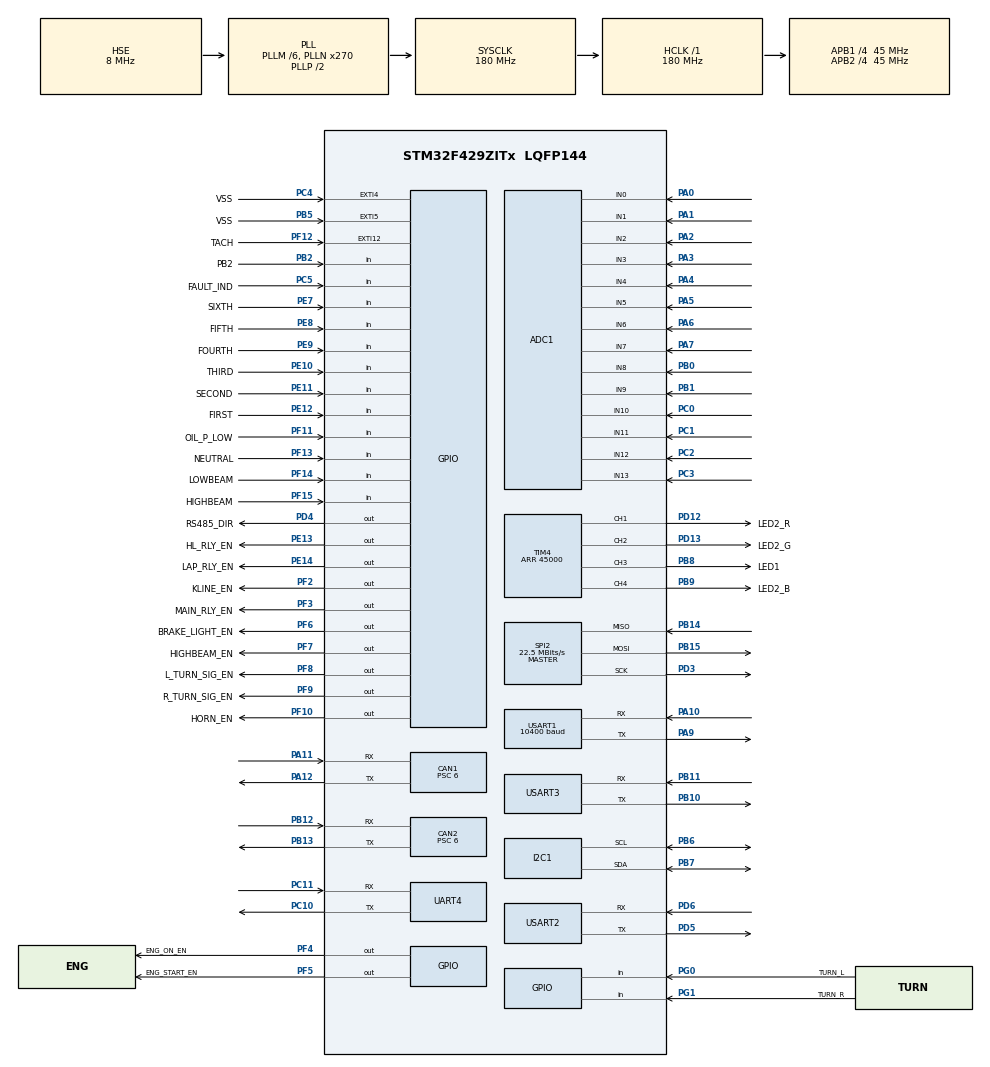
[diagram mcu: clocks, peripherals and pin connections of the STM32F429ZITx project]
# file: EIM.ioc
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ADC1.Channel-1\#ChannelRegularConversion=ADC_CHANNEL_TEMPSENSOR
ADC1.NbrOfConversionFlag=1
ADC1.Rank-1\#ChannelRegularConversion=1
ADC1.SamplingTime-1\#ChannelRegularConversion=ADC_SAMPLETIME_3CYCLES
ADC1.master=1
CAN1.BS1=CAN_BS1_6TQ
CAN1.BS2=CAN_BS2_8TQ
CAN1.CalculateBaudRate=500000
CAN1.CalculateTimeBit=2000
CAN1.CalculateTimeQuantum=133.33333333333331
CAN1.Prescaler=6
CAN2.BS1=CAN_BS1_6TQ
CAN2.BS2=CAN_BS2_8TQ
CAN2.CalculateBaudRate=500000
CAN2.CalculateTimeBit=2000
CAN2.CalculateTimeQuantum=133.33333333333331
CAN2.Prescaler=6
FREERTOS.INCLUDE_vTaskDelayUntil=1
FREERTOS.INCLUDE_vTaskDelete=0
FREERTOS.INCLUDE_xTaskGetCurrentTaskHandle=1
FREERTOS.MEMORY_ALLOCATION=1
FREERTOS.Tasks01=defaultTask,-3,256,StartDefaultTask,Default,NULL,Static,defaultTaskBuffer,defaultTaskControlBlock;Task1kHz,3,256,StartTask1kHz,Default,NULL,Static,Task1kHzBuffer,Task1kHzControlBlock;Task10Hz,1,256,StartTask10Hz,Default,NULL,Static,Task10HzBuffer,Task10HzControlBlock;Task1Hz,0,256,StartTask1Hz,Default,NULL,Static,Task1HzBuffer,Task1HzControlBlock;Task100Hz,2,256,StartTask100Hz,Default,NULL,Static,Task100HzBuffer,Task100HzControlBlock
FREERTOS.configGENERATE_RUN_TIME_STATS=1
FREERTOS.configMAX_PRIORITIES=32
FREERTOS.configMINIMAL_STACK_SIZE=256
Mcu.Family=STM32F4
Mcu.Name=STM32F429ZITx
Mcu.Package=LQFP144
NVIC.ADC_IRQn=true\:5\:0\:false\:false\:true\:true\:true\:true\:true
NVIC.CAN1_RX0_IRQn=true\:5\:0\:false\:false\:true\:true\:true\:true\:true
NVIC.CAN1_RX1_IRQn=true\:5\:0\:false\:false\:true\:true\:true\:true\:true
NVIC.EXTI15_10_IRQn=true\:5\:0\:false\:false\:true\:true\:true\:true\:true
NVIC.PriorityGroup=NVIC_PRIORITYGROUP_4
NVIC.TIM2_IRQn=true\:15\:0\:false\:false\:true\:false\:false\:true\:true
NVIC.TIM5_IRQn=true\:5\:0\:false\:false\:true\:true\:true\:true\:true
NVIC.TimeBase=TIM2_IRQn
NVIC.TimeBaseIP=TIM2
NVIC.USART1_IRQn=true\:5\:0\:false\:false\:true\:true\:true\:true\:true
NVIC.USART2_IRQn=true\:5\:0\:false\:false\:true\:true\:true\:true\:true
PA0/WKUP.Signal=ADCx_IN0
PA1.Signal=ADCx_IN1
PA10.Mode=Asynchronous
PA10.Signal=USART1_RX
PA11.Mode=CAN_Activate
PA11.Signal=CAN1_RX
PA12.Mode=CAN_Activate
PA12.Signal=CAN1_TX
PA13.Mode=JTAG_5_pins
PA13.Signal=SYS_JTMS-SWDIO
PA14.Mode=JTAG_5_pins
PA14.Signal=SYS_JTCK-SWCLK
PA15.Mode=JTAG_5_pins
PA15.Signal=SYS_JTDI
PA2.Signal=ADCx_IN2
PA3.Signal=ADCx_IN3
PA4.Signal=ADCx_IN4
PA5.Signal=ADCx_IN5
PA6.Signal=ADCx_IN6
PA7.Signal=ADCx_IN7
PA9.Mode=Asynchronous
PA9.Signal=USART1_TX
PB0.Signal=ADCx_IN8
PB1.Signal=ADCx_IN9
PB10.Mode=Asynchronous
PB10.Signal=USART3_TX
PB11.Mode=Asynchronous
PB11.Signal=USART3_RX
PB12.Mode=CAN_Activate
PB12.Signal=CAN2_RX
PB13.Mode=CAN_Activate
PB13.Signal=CAN2_TX
PB14.Mode=Full_Duplex_Master
PB14.Signal=SPI2_MISO
PB15.Mode=Full_Duplex_Master
PB15.Signal=SPI2_MOSI
PB2/BOOT1.GPIO_Label=PB2
PB2/BOOT1.Signal=GPIO_Input
PB3.Mode=JTAG_5_pins
PB3.Signal=SYS_JTDO-SWO
PB4.Mode=JTAG_5_pins
PB4.Signal=SYS_JTRST
PB5.GPIO_Label=VSS
PB5.Signal=GPXTI5
PB6.Mode=I2C
PB6.Signal=I2C1_SCL
PB7.Mode=I2C
PB7.Signal=I2C1_SDA
PB8.GPIO_Label=LED1
PB8.Signal=S_TIM4_CH3
PB9.GPIO_Label=LED2_B
PB9.Signal=S_TIM4_CH4
PC0.Signal=ADCx_IN10
PC1.Signal=ADCx_IN11
PC10.Mode=Asynchronous
PC10.Signal=UART4_TX
PC11.Mode=Asynchronous
PC11.Signal=UART4_RX
PC14/OSC32_IN.Mode=LSE-External-Clock-Source
PC14/OSC32_IN.Signal=RCC_OSC32_IN
PC15/OSC32_OUT.Mode=LSE-External-Clock-Source
PC15/OSC32_OUT.Signal=RCC_OSC32_OUT
PC2.Signal=ADCx_IN12
PC3.Signal=ADCx_IN13
PC4.GPIO_Label=VSS
PC4.Signal=GPXTI4
PC5.GPIO_Label=FAULT_IND
PC5.Signal=GPIO_Input
PD12.GPIO_Label=LED2_R
PD12.Signal=S_TIM4_CH1
PD13.GPIO_Label=LED2_G
PD13.Signal=S_TIM4_CH2
PD3.Mode=Full_Duplex_Master
PD3.Signal=SPI2_SCK
PD4.GPIO_Label=RS485_DIR
PD4.Signal=GPIO_Output
PD5.Mode=Asynchronous
PD5.Signal=USART2_TX
PD6.Mode=Asynchronous
PD6.Signal=USART2_RX
PE10.GPIO_Label=THIRD
PE10.Signal=GPIO_Input
PE11.GPIO_Label=SECOND
PE11.Signal=GPIO_Input
PE12.GPIO_Label=FIRST
PE12.Signal=GPIO_Input
PE13.GPIO_Label=HL_RLY_EN
PE13.Signal=GPIO_Output
PE14.GPIO_Label=LAP_RLY_EN
PE14.Signal=GPIO_Output
PE7.GPIO_Label=SIXTH
PE7.Signal=GPIO_Input
PE8.GPIO_Label=FIFTH
PE8.Signal=GPIO_Input
PE9.GPIO_Label=FOURTH
PE9.Signal=GPIO_Input
PF10.GPIO_Label=HORN_EN
PF10.Signal=GPIO_Output
PF11.GPIO_Label=OIL_P_LOW
PF11.Signal=GPIO_Input
PF12.GPIO_Label=TACH
PF12.Signal=GPXTI12
PF13.GPIO_Label=NEUTRAL
PF13.Signal=GPIO_Input
PF14.GPIO_Label=LOWBEAM
PF14.Signal=GPIO_Input
PF15.GPIO_Label=HIGHBEAM
PF15.Signal=GPIO_Input
PF2.GPIO_Label=KLINE_EN
PF2.Signal=GPIO_Output
PF3.GPIO_Label=MAIN_RLY_EN
PF3.Signal=GPIO_Output
PF4.GPIO_Label=ENG_ON_EN
PF4.Signal=GPIO_Output
PF5.GPIO_Label=ENG_START_EN
PF5.Signal=GPIO_Output
PF6.GPIO_Label=BRAKE_LIGHT_EN
PF6.Signal=GPIO_Output
PF7.GPIO_Label=HIGHBEAM_EN
PF7.Signal=GPIO_Output
PF8.GPIO_Label=L_TURN_SIG_EN
PF8.Signal=GPIO_Output
PF9.GPIO_Label=R_TURN_SIG_EN
PF9.Signal=GPIO_Output
PG0.GPIO_Label=TURN_L
PG0.Signal=GPIO_Input
PG1.GPIO_Label=TURN_R
PG1.Signal=GPIO_Input
PH0/OSC_IN.Mode=HSE-External-Clock-Source
PH0/OSC_IN.Signal=RCC_OSC_IN
PH1/OSC_OUT.Mode=HSE-External-Clock-Source
PH1/OSC_OUT.Signal=RCC_OSC_OUT
ProjectManager.HeapSize=0x200
ProjectManager.StackSize=0x400
ProjectManager.TargetToolchain=CMake
RCC.48MHZClocksFreq_Value=90000000
RCC.AHBFreq_Value=180000000
RCC.APB1CLKDivider=RCC_HCLK_DIV4
RCC.APB1Freq_Value=45000000
RCC.APB1TimFreq_Value=90000000
RCC.APB2CLKDivider=RCC_HCLK_DIV4
RCC.APB2Freq_Value=45000000
RCC.APB2TimFreq_Value=90000000
RCC.CortexFreq_Value=180000000
RCC.HCLKFreq_Value=180000000
RCC.HSE_VALUE=8000000
RCC.HSI_VALUE=16000000
RCC.LSE_VALUE=32768
RCC.PLLM=6
RCC.PLLN=270
RCC.PLLSourceVirtual=RCC_PLLSOURCE_HSE
RCC.SYSCLKFreq_VALUE=180000000
RCC.SYSCLKSource=RCC_SYSCLKSOURCE_PLLCLK
RCC.VCOOutputFreq_Value=360000000
SH.ADCx_IN0.0=ADC1_IN0,IN0
SH.ADCx_IN1.0=ADC1_IN1,IN1
SH.ADCx_IN10.0=ADC1_IN10,IN10
SH.ADCx_IN11.0=ADC1_IN11,IN11
SH.ADCx_IN12.0=ADC1_IN12,IN12
SH.ADCx_IN13.0=ADC1_IN13,IN13
SH.ADCx_IN2.0=ADC1_IN2,IN2
SH.ADCx_IN3.0=ADC1_IN3,IN3
SH.ADCx_IN4.0=ADC1_IN4,IN4
SH.ADCx_IN5.0=ADC1_IN5,IN5
SH.ADCx_IN6.0=ADC1_IN6,IN6
SH.ADCx_IN7.0=ADC1_IN7,IN7
SH.ADCx_IN8.0=ADC1_IN8,IN8
SH.ADCx_IN9.0=ADC1_IN9,IN9
SH.S_TIM4_CH1.0=TIM4_CH1,PWM Generation1 CH1
SH.S_TIM4_CH2.0=TIM4_CH2,PWM Generation2 CH2
SH.S_TIM4_CH3.0=TIM4_CH3,PWM Generation3 CH3
SH.S_TIM4_CH4.0=TIM4_CH4,PWM Generation4 CH4
SPI2.BaudRatePrescaler=SPI_BAUDRATEPRESCALER_2
SPI2.CalculateBaudRate=22.5 MBits/s
SPI2.Direction=SPI_DIRECTION_2LINES
SPI2.Mode=SPI_MODE_MASTER
SPI2.VirtualType=VM_MASTER
TIM4.Channel-PWM\ Generation1\ CH1=TIM_CHANNEL_1
TIM4.Channel-PWM\ Generation2\ CH2=TIM_CHANNEL_2
TIM4.Channel-PWM\ Generation3\ CH3=TIM_CHANNEL_3
TIM4.Channel-PWM\ Generation4\ CH4=TIM_CHANNEL_4
TIM4.Period=45000
TIM5.Channel-Output\ Compare1\ No\ Output=TIM_CHANNEL_1
TIM5.Channel-Output\ Compare2\ No\ Output=TIM_CHANNEL_2
TIM5.Channel-Output\ Compare3\ No\ Output=TIM_CHANNEL_3
TIM5.Channel-Output\ Compare4\ No\ Output=TIM_CHANNEL_4
TIM5.Prescaler=90
UART4.VirtualMode=Asynchronous
USART1.BaudRate=10400
USART1.VirtualMode=VM_ASYNC
USART2.StopBits=STOPBITS_1
USART2.VirtualMode=VM_ASYNC
USART3.VirtualMode=VM_ASYNC
VP_ADC1_TempSens_Input.Mode=IN-TempSens
VP_FREERTOS_VS_CMSIS_V1.Mode=CMSIS_V1
VP_SYS_VS_tim2.Mode=TIM2
VP_TIM4_VS_ClockSourceINT.Mode=Internal
VP_TIM5_VS_ClockSourceINT.Mode=Internal
VP_TIM5_VS_no_output1.Mode=Output Compare1 No Output
VP_TIM5_VS_no_output2.Mode=Output Compare2 No Output
VP_TIM5_VS_no_output3.Mode=Output Compare3 No Output
VP_TIM5_VS_no_output4.Mode=Output Compare4 No Output
board=custom

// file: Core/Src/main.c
/* USER CODE BEGIN Header */
/**
  ******************************************************************************
  * @file           : main.c
  * @brief          : Main program body
  ******************************************************************************
  * @attention
  *
  * Copyright (c) 2025 STMicroelectronics.
  * All rights reserved.
  *
  * This software is licensed under terms that can be found in the LICENSE file
  * in the root directory of this software component.
  * If no LICENSE file comes with this software, it is provided AS-IS.
  *
  ******************************************************************************
  */
/* USER CODE END Header */
#include "main.h"
#include "cmsis_os.h"

/* USER CODE BEGIN Includes */
#include "halWrappersConfig.h"
#include "profiler.h"
#include "rtos.h"

/* USER CODE END Includes */

ADC_HandleTypeDef hadc1;

CAN_HandleTypeDef hcan1;
CAN_HandleTypeDef hcan2;

I2C_HandleTypeDef hi2c1;

SPI_HandleTypeDef hspi2;

TIM_HandleTypeDef htim4;
TIM_HandleTypeDef htim5;

UART_HandleTypeDef huart4;
UART_HandleTypeDef huart1;
UART_HandleTypeDef huart2;
UART_HandleTypeDef huart3;

osThreadId defaultTaskHandle;
uint32_t defaultTaskBuffer[ 256 ];
osStaticThreadDef_t defaultTaskControlBlock;
osThreadId Task1kHzHandle;
uint32_t Task1kHzBuffer[ 256 ];
osStaticThreadDef_t Task1kHzControlBlock;
osThreadId Task10HzHandle;
uint32_t Task10HzBuffer[ 256 ];
osStaticThreadDef_t Task10HzControlBlock;
osThreadId Task1HzHandle;
uint32_t Task1HzBuffer[ 256 ];
osStaticThreadDef_t Task1HzControlBlock;
osThreadId Task100HzHandle;
uint32_t Task100HzBuffer[ 256 ];
osStaticThreadDef_t Task100HzControlBlock;
/* USER CODE BEGIN PV */

HalWrappers_Config_S gHalWrappersConfig =
{
  .pAdc = &hadc1,
  .pPwmTim = &htim4,
  .pUsTim = &htim5,
  .pCan = {&hcan1, &hcan2},
  .pUart = {&huart1, &huart2},
};

static Profiler_Data_S g1kHzProfilerData;
static Profiler_Data_S g100HzProfilerData;
static Profiler_Data_S g10HzProfilerData;
static Profiler_Data_S g1HzProfilerData;

/* USER CODE END PV */

void SystemClock_Config(void);
static void MX_GPIO_Init(void);
static void MX_CAN1_Init(void);
static void MX_CAN2_Init(void);
static void MX_I2C1_Init(void);
static void MX_USART1_UART_Init(void);
static void MX_USART2_UART_Init(void);
static void MX_USART3_UART_Init(void);
static void MX_SPI2_Init(void);
static void MX_ADC1_Init(void);
static void MX_UART4_Init(void);
static void MX_TIM4_Init(void);
static void MX_TIM5_Init(void);
void StartDefaultTask(void const * argument);
void StartTask1kHz(void const * argument);
void StartTask10Hz(void const * argument);
void StartTask1Hz(void const * argument);
void StartTask100Hz(void const * argument);

int main(void)
{

  /* MCU Configuration--------------------------------------------------------*/

  /* Reset of all peripherals, Initializes the Flash interface and the Systick. */
  HAL_Init();

  /* Configure the system clock */
  SystemClock_Config();

  /* Initialize all configured peripherals */
  MX_GPIO_Init();
  MX_CAN1_Init();
  MX_CAN2_Init();
  MX_I2C1_Init();
  MX_USART1_UART_Init();
  MX_USART2_UART_Init();
  MX_USART3_UART_Init();
  MX_SPI2_Init();
  MX_ADC1_Init();
  MX_UART4_Init();
  MX_TIM4_Init();
  MX_TIM5_Init();
  /* USER CODE BEGIN 2 */
  RtosInit();
  /* USER CODE END 2 */

  /* Create the thread(s) */
  /* definition and creation of defaultTask */
  osThreadStaticDef(defaultTask, StartDefaultTask, osPriorityIdle, 0, 256, defaultTaskBuffer, &defaultTaskControlBlock);
  defaultTaskHandle = osThreadCreate(osThread(defaultTask), NULL);

  /* definition and creation of Task1kHz */
  osThreadStaticDef(Task1kHz, StartTask1kHz, osPriorityRealtime, 0, 256, Task1kHzBuffer, &Task1kHzControlBlock);
  Task1kHzHandle = osThreadCreate(osThread(Task1kHz), NULL);

  /* definition and creation of Task10Hz */
  osThreadStaticDef(Task10Hz, StartTask10Hz, osPriorityAboveNormal, 0, 256, Task10HzBuffer, &Task10HzControlBlock);
  Task10HzHandle = osThreadCreate(osThread(Task10Hz), NULL);

  /* definition and creation of Task1Hz */
  osThreadStaticDef(Task1Hz, StartTask1Hz, osPriorityNormal, 0, 256, Task1HzBuffer, &Task1HzControlBlock);
  Task1HzHandle = osThreadCreate(osThread(Task1Hz), NULL);

  /* definition and creation of Task100Hz */
  osThreadStaticDef(Task100Hz, StartTask100Hz, osPriorityHigh, 0, 256, Task100HzBuffer, &Task100HzControlBlock);
  Task100HzHandle = osThreadCreate(osThread(Task100Hz), NULL);

  /* USER CODE BEGIN RTOS_THREADS */
  /* add threads, ... */
  g1kHzProfilerData.configWindowNumPeriods = 1000U; // 1kHz
  vTaskSetThreadLocalStoragePointer(Task1kHzHandle, THREAD_LOCAL_STORAGE_PROFILER_IDX, (void *)&g1kHzProfilerData);
  ProfilerScheduledTaskRegister(PROFILER_TASK_1KHZ, (void *)Task1kHzHandle);

  g100HzProfilerData.configWindowNumPeriods = 100U; // 100Hz
  vTaskSetThreadLocalStoragePointer(Task100HzHandle, THREAD_LOCAL_STORAGE_PROFILER_IDX, (void *)&g100HzProfilerData);
  ProfilerScheduledTaskRegister(PROFILER_TASK_100HZ, (void *)Task100HzHandle);

  g10HzProfilerData.configWindowNumPeriods = 10U; // 10Hz
  vTaskSetThreadLocalStoragePointer(Task10HzHandle, THREAD_LOCAL_STORAGE_PROFILER_IDX, (void *)&g10HzProfilerData);
  ProfilerScheduledTaskRegister(PROFILER_TASK_10HZ, (void *)Task10HzHandle);

  g1HzProfilerData.configWindowNumPeriods = 2U; // 1Hz * 2
  vTaskSetThreadLocalStoragePointer(Task1HzHandle, THREAD_LOCAL_STORAGE_PROFILER_IDX, (void *)&g1HzProfilerData);
  ProfilerScheduledTaskRegister(PROFILER_TASK_1HZ, (void *)Task1HzHandle);
  /* USER CODE END RTOS_THREADS */

  /* Start scheduler */
  osKernelStart();

  /* We should never get here as control is now taken by the scheduler */

  /* Infinite loop */
  while (1)
  {

  }
}

void SystemClock_Config(void)
{
  RCC_OscInitTypeDef RCC_OscInitStruct = {0};
  RCC_ClkInitTypeDef RCC_ClkInitStruct = {0};

  /** Configure the main internal regulator output voltage
  */
  __HAL_RCC_PWR_CLK_ENABLE();
  __HAL_PWR_VOLTAGESCALING_CONFIG(PWR_REGULATOR_VOLTAGE_SCALE1);

  /** Initializes the RCC Oscillators according to the specified parameters
  * in the RCC_OscInitTypeDef structure.
  */
  RCC_OscInitStruct.OscillatorType = RCC_OSCILLATORTYPE_HSE;
  RCC_OscInitStruct.HSEState = RCC_HSE_BYPASS;
  RCC_OscInitStruct.PLL.PLLState = RCC_PLL_ON;
  RCC_OscInitStruct.PLL.PLLSource = RCC_PLLSOURCE_HSE;
  RCC_OscInitStruct.PLL.PLLM = 6;
  RCC_OscInitStruct.PLL.PLLN = 270;
  RCC_OscInitStruct.PLL.PLLP = RCC_PLLP_DIV2;
  RCC_OscInitStruct.PLL.PLLQ = 4;
  if (HAL_RCC_OscConfig(&RCC_OscInitStruct) != HAL_OK)
  {
    Error_Handler();
  }

  /** Activate the Over-Drive mode
  */
  if (HAL_PWREx_EnableOverDrive() != HAL_OK)
  {
    Error_Handler();
  }

  /** Initializes the CPU, AHB and APB buses clocks
  */
  RCC_ClkInitStruct.ClockType = RCC_CLOCKTYPE_HCLK|RCC_CLOCKTYPE_SYSCLK
                              |RCC_CLOCKTYPE_PCLK1|RCC_CLOCKTYPE_PCLK2;
  RCC_ClkInitStruct.SYSCLKSource = RCC_SYSCLKSOURCE_PLLCLK;
  RCC_ClkInitStruct.AHBCLKDivider = RCC_SYSCLK_DIV1;
  RCC_ClkInitStruct.APB1CLKDivider = RCC_HCLK_DIV4;
  RCC_ClkInitStruct.APB2CLKDivider = RCC_HCLK_DIV4;

  if (HAL_RCC_ClockConfig(&RCC_ClkInitStruct, FLASH_LATENCY_5) != HAL_OK)
  {
    Error_Handler();
  }
}

static void MX_ADC1_Init(void)
{

  ADC_ChannelConfTypeDef sConfig = {0};

  /** Configure the global features of the ADC (Clock, Resolution, Data Alignment and number of conversion)
  */
  hadc1.Instance = ADC1;
  hadc1.Init.ClockPrescaler = ADC_CLOCK_SYNC_PCLK_DIV2;
  hadc1.Init.Resolution = ADC_RESOLUTION_12B;
  hadc1.Init.ScanConvMode = DISABLE;
  hadc1.Init.ContinuousConvMode = DISABLE;
  hadc1.Init.DiscontinuousConvMode = DISABLE;
  hadc1.Init.ExternalTrigConvEdge = ADC_EXTERNALTRIGCONVEDGE_NONE;
  hadc1.Init.ExternalTrigConv = ADC_SOFTWARE_START;
  hadc1.Init.DataAlign = ADC_DATAALIGN_RIGHT;
  hadc1.Init.NbrOfConversion = 1;
  hadc1.Init.DMAContinuousRequests = DISABLE;
  hadc1.Init.EOCSelection = ADC_EOC_SINGLE_CONV;
  if (HAL_ADC_Init(&hadc1) != HAL_OK)
  {
    Error_Handler();
  }

  /** Configure for the selected ADC regular channel its corresponding rank in the sequencer and its sample time.
  */
  sConfig.Channel = ADC_CHANNEL_TEMPSENSOR;
  sConfig.Rank = 1;
  sConfig.SamplingTime = ADC_SAMPLETIME_3CYCLES;
  if (HAL_ADC_ConfigChannel(&hadc1, &sConfig) != HAL_OK)
  {
    Error_Handler();
  }

}

static void MX_CAN1_Init(void)
{

  hcan1.Instance = CAN1;
  hcan1.Init.Prescaler = 6;
  hcan1.Init.Mode = CAN_MODE_NORMAL;
  hcan1.Init.SyncJumpWidth = CAN_SJW_1TQ;
  hcan1.Init.TimeSeg1 = CAN_BS1_6TQ;
  hcan1.Init.TimeSeg2 = CAN_BS2_8TQ;
  hcan1.Init.TimeTriggeredMode = DISABLE;
  hcan1.Init.AutoBusOff = DISABLE;
  hcan1.Init.AutoWakeUp = DISABLE;
  hcan1.Init.AutoRetransmission = DISABLE;
  hcan1.Init.ReceiveFifoLocked = DISABLE;
  hcan1.Init.TransmitFifoPriority = DISABLE;
  if (HAL_CAN_Init(&hcan1) != HAL_OK)
  {
    Error_Handler();
  }

}

static void MX_CAN2_Init(void)
{

  hcan2.Instance = CAN2;
  hcan2.Init.Prescaler = 6;
  hcan2.Init.Mode = CAN_MODE_NORMAL;
  hcan2.Init.SyncJumpWidth = CAN_SJW_1TQ;
  hcan2.Init.TimeSeg1 = CAN_BS1_6TQ;
  hcan2.Init.TimeSeg2 = CAN_BS2_8TQ;
  hcan2.Init.TimeTriggeredMode = DISABLE;
  hcan2.Init.AutoBusOff = DISABLE;
  hcan2.Init.AutoWakeUp = DISABLE;
  hcan2.Init.AutoRetransmission = DISABLE;
  hcan2.Init.ReceiveFifoLocked = DISABLE;
  hcan2.Init.TransmitFifoPriority = DISABLE;
  if (HAL_CAN_Init(&hcan2) != HAL_OK)
  {
    Error_Handler();
  }

}

static void MX_I2C1_Init(void)
{

  hi2c1.Instance = I2C1;
  hi2c1.Init.ClockSpeed = 100000;
  hi2c1.Init.DutyCycle = I2C_DUTYCYCLE_2;
  hi2c1.Init.OwnAddress1 = 0;
  hi2c1.Init.AddressingMode = I2C_ADDRESSINGMODE_7BIT;
  hi2c1.Init.DualAddressMode = I2C_DUALADDRESS_DISABLE;
  hi2c1.Init.OwnAddress2 = 0;
  hi2c1.Init.GeneralCallMode = I2C_GENERALCALL_DISABLE;
  hi2c1.Init.NoStretchMode = I2C_NOSTRETCH_DISABLE;
  if (HAL_I2C_Init(&hi2c1) != HAL_OK)
  {
    Error_Handler();
  }

  /** Configure Analogue filter
  */
  if (HAL_I2CEx_ConfigAnalogFilter(&hi2c1, I2C_ANALOGFILTER_ENABLE) != HAL_OK)
  {
    Error_Handler();
  }

  /** Configure Digital filter
  */
  if (HAL_I2CEx_ConfigDigitalFilter(&hi2c1, 0) != HAL_OK)
  {
    Error_Handler();
  }

}

static void MX_SPI2_Init(void)
{

  /* SPI2 parameter configuration*/
  hspi2.Instance = SPI2;
  hspi2.Init.Mode = SPI_MODE_MASTER;
  hspi2.Init.Direction = SPI_DIRECTION_2LINES;
  hspi2.Init.DataSize = SPI_DATASIZE_8BIT;
  hspi2.Init.CLKPolarity = SPI_POLARITY_LOW;
  hspi2.Init.CLKPhase = SPI_PHASE_1EDGE;
  hspi2.Init.NSS = SPI_NSS_SOFT;
  hspi2.Init.BaudRatePrescaler = SPI_BAUDRATEPRESCALER_2;
  hspi2.Init.FirstBit = SPI_FIRSTBIT_MSB;
  hspi2.Init.TIMode = SPI_TIMODE_DISABLE;
  hspi2.Init.CRCCalculation = SPI_CRCCALCULATION_DISABLE;
  hspi2.Init.CRCPolynomial = 10;
  if (HAL_SPI_Init(&hspi2) != HAL_OK)
  {
    Error_Handler();
  }

}

static void MX_TIM4_Init(void)
{

  TIM_ClockConfigTypeDef sClockSourceConfig = {0};
  TIM_MasterConfigTypeDef sMasterConfig = {0};
  TIM_OC_InitTypeDef sConfigOC = {0};

  htim4.Instance = TIM4;
  htim4.Init.Prescaler = 0;
  htim4.Init.CounterMode = TIM_COUNTERMODE_UP;
  htim4.Init.Period = 45000;
  htim4.Init.ClockDivision = TIM_CLOCKDIVISION_DIV1;
  htim4.Init.AutoReloadPreload = TIM_AUTORELOAD_PRELOAD_DISABLE;
  if (HAL_TIM_Base_Init(&htim4) != HAL_OK)
  {
    Error_Handler();
  }
  sClockSourceConfig.ClockSource = TIM_CLOCKSOURCE_INTERNAL;
  if (HAL_TIM_ConfigClockSource(&htim4, &sClockSourceConfig) != HAL_OK)
  {
    Error_Handler();
  }
  if (HAL_TIM_PWM_Init(&htim4) != HAL_OK)
  {
    Error_Handler();
  }
  sMasterConfig.MasterOutputTrigger = TIM_TRGO_RESET;
  sMasterConfig.MasterSlaveMode = TIM_MASTERSLAVEMODE_DISABLE;
  if (HAL_TIMEx_MasterConfigSynchronization(&htim4, &sMasterConfig) != HAL_OK)
  {
    Error_Handler();
  }
  sConfigOC.OCMode = TIM_OCMODE_PWM1;
  sConfigOC.Pulse = 0;
  sConfigOC.OCPolarity = TIM_OCPOLARITY_HIGH;
  sConfigOC.OCFastMode = TIM_OCFAST_DISABLE;
  if (HAL_TIM_PWM_ConfigChannel(&htim4, &sConfigOC, TIM_CHANNEL_1) != HAL_OK)
  {
    Error_Handler();
  }
  if (HAL_TIM_PWM_ConfigChannel(&htim4, &sConfigOC, TIM_CHANNEL_2) != HAL_OK)
  {
    Error_Handler();
  }
  if (HAL_TIM_PWM_ConfigChannel(&htim4, &sConfigOC, TIM_CHANNEL_3) != HAL_OK)
  {
    Error_Handler();
  }
  if (HAL_TIM_PWM_ConfigChannel(&htim4, &sConfigOC, TIM_CHANNEL_4) != HAL_OK)
  {
    Error_Handler();
  }
  HAL_TIM_MspPostInit(&htim4);

}

static void MX_TIM5_Init(void)
{

  TIM_ClockConfigTypeDef sClockSourceConfig = {0};
  TIM_MasterConfigTypeDef sMasterConfig = {0};
  TIM_OC_InitTypeDef sConfigOC = {0};

  htim5.Instance = TIM5;
  htim5.Init.Prescaler = 90;
  htim5.Init.CounterMode = TIM_COUNTERMODE_UP;
  htim5.Init.Period = 4294967295;
  htim5.Init.ClockDivision = TIM_CLOCKDIVISION_DIV1;
  htim5.Init.AutoReloadPreload = TIM_AUTORELOAD_PRELOAD_DISABLE;
  if (HAL_TIM_Base_Init(&htim5) != HAL_OK)
  {
    Error_Handler();
  }
  sClockSourceConfig.ClockSource = TIM_CLOCKSOURCE_INTERNAL;
  if (HAL_TIM_ConfigClockSource(&htim5, &sClockSourceConfig) != HAL_OK)
  {
    Error_Handler();
  }
  if (HAL_TIM_OC_Init(&htim5) != HAL_OK)
  {
    Error_Handler();
  }
  sMasterConfig.MasterOutputTrigger = TIM_TRGO_RESET;
  sMasterConfig.MasterSlaveMode = TIM_MASTERSLAVEMODE_DISABLE;
  if (HAL_TIMEx_MasterConfigSynchronization(&htim5, &sMasterConfig) != HAL_OK)
  {
    Error_Handler();
  }
  sConfigOC.OCMode = TIM_OCMODE_TIMING;
  sConfigOC.Pulse = 0;
  sConfigOC.OCPolarity = TIM_OCPOLARITY_HIGH;
  sConfigOC.OCFastMode = TIM_OCFAST_DISABLE;
  if (HAL_TIM_OC_ConfigChannel(&htim5, &sConfigOC, TIM_CHANNEL_1) != HAL_OK)
  {
    Error_Handler();
  }
  if (HAL_TIM_OC_ConfigChannel(&htim5, &sConfigOC, TIM_CHANNEL_2) != HAL_OK)
  {
    Error_Handler();
  }
  if (HAL_TIM_OC_ConfigChannel(&htim5, &sConfigOC, TIM_CHANNEL_3) != HAL_OK)
  {
    Error_Handler();
  }
  if (HAL_TIM_OC_ConfigChannel(&htim5, &sConfigOC, TIM_CHANNEL_4) != HAL_OK)
  {
    Error_Handler();
  }

}

static void MX_UART4_Init(void)
{

  huart4.Instance = UART4;
  huart4.Init.BaudRate = 115200;
  huart4.Init.WordLength = UART_WORDLENGTH_8B;
  huart4.Init.StopBits = UART_STOPBITS_1;
  huart4.Init.Parity = UART_PARITY_NONE;
  huart4.Init.Mode = UART_MODE_TX_RX;
  huart4.Init.HwFlowCtl = UART_HWCONTROL_NONE;
  huart4.Init.OverSampling = UART_OVERSAMPLING_16;
  if (HAL_UART_Init(&huart4) != HAL_OK)
  {
    Error_Handler();
  }

}

static void MX_USART1_UART_Init(void)
{

  huart1.Instance = USART1;
  huart1.Init.BaudRate = 10400;
  huart1.Init.WordLength = UART_WORDLENGTH_8B;
  huart1.Init.StopBits = UART_STOPBITS_1;
  huart1.Init.Parity = UART_PARITY_NONE;
  huart1.Init.Mode = UART_MODE_TX_RX;
  huart1.Init.HwFlowCtl = UART_HWCONTROL_NONE;
  huart1.Init.OverSampling = UART_OVERSAMPLING_16;
  if (HAL_UART_Init(&huart1) != HAL_OK)
  {
    Error_Handler();
  }

}

static void MX_USART2_UART_Init(void)
{

  huart2.Instance = USART2;
  huart2.Init.BaudRate = 115200;
  huart2.Init.WordLength = UART_WORDLENGTH_8B;
  huart2.Init.StopBits = UART_STOPBITS_1;
  huart2.Init.Parity = UART_PARITY_NONE;
  huart2.Init.Mode = UART_MODE_TX_RX;
  huart2.Init.HwFlowCtl = UART_HWCONTROL_NONE;
  huart2.Init.OverSampling = UART_OVERSAMPLING_16;
  if (HAL_UART_Init(&huart2) != HAL_OK)
  {
    Error_Handler();
  }

}

static void MX_USART3_UART_Init(void)
{

  huart3.Instance = USART3;
  huart3.Init.BaudRate = 115200;
  huart3.Init.WordLength = UART_WORDLENGTH_8B;
  huart3.Init.StopBits = UART_STOPBITS_1;
  huart3.Init.Parity = UART_PARITY_NONE;
  huart3.Init.Mode = UART_MODE_TX_RX;
  huart3.Init.HwFlowCtl = UART_HWCONTROL_NONE;
  huart3.Init.OverSampling = UART_OVERSAMPLING_16;
  if (HAL_UART_Init(&huart3) != HAL_OK)
  {
    Error_Handler();
  }

}

static void MX_GPIO_Init(void)
{
  GPIO_InitTypeDef GPIO_InitStruct = {0};

  /* GPIO Ports Clock Enable */
  __HAL_RCC_GPIOC_CLK_ENABLE();
  __HAL_RCC_GPIOF_CLK_ENABLE();
  __HAL_RCC_GPIOH_CLK_ENABLE();
  __HAL_RCC_GPIOA_CLK_ENABLE();
  __HAL_RCC_GPIOB_CLK_ENABLE();
  __HAL_RCC_GPIOG_CLK_ENABLE();
  __HAL_RCC_GPIOE_CLK_ENABLE();
  __HAL_RCC_GPIOD_CLK_ENABLE();

  /*Configure GPIO pin Output Level */
  HAL_GPIO_WritePin(GPIOF, KLINE_EN_Pin|MAIN_RLY_EN_Pin|ENG_ON_EN_Pin|ENG_START_EN_Pin
                          |BRAKE_LIGHT_EN_Pin|HIGHBEAM_EN_Pin|L_TURN_SIG_EN_Pin|R_TURN_SIG_EN_Pin
                          |HORN_EN_Pin, GPIO_PIN_RESET);

  /*Configure GPIO pin Output Level */
  HAL_GPIO_WritePin(GPIOE, HL_RLY_EN_Pin|LAP_RLY_EN_Pin, GPIO_PIN_RESET);

  /*Configure GPIO pin Output Level */
  HAL_GPIO_WritePin(RS485_DIR_GPIO_Port, RS485_DIR_Pin, GPIO_PIN_RESET);

  /*Configure GPIO pins : KLINE_EN_Pin MAIN_RLY_EN_Pin ENG_ON_EN_Pin ENG_START_EN_Pin
                           BRAKE_LIGHT_EN_Pin HIGHBEAM_EN_Pin L_TURN_SIG_EN_Pin R_TURN_SIG_EN_Pin
                           HORN_EN_Pin */
  GPIO_InitStruct.Pin = KLINE_EN_Pin|MAIN_RLY_EN_Pin|ENG_ON_EN_Pin|ENG_START_EN_Pin
                          |BRAKE_LIGHT_EN_Pin|HIGHBEAM_EN_Pin|L_TURN_SIG_EN_Pin|R_TURN_SIG_EN_Pin
                          |HORN_EN_Pin;
  GPIO_InitStruct.Mode = GPIO_MODE_OUTPUT_PP;
  GPIO_InitStruct.Pull = GPIO_NOPULL;
  GPIO_InitStruct.Speed = GPIO_SPEED_FREQ_LOW;
  HAL_GPIO_Init(GPIOF, &GPIO_InitStruct);

  /*Configure GPIO pin : VSS_Pin */
  GPIO_InitStruct.Pin = VSS_Pin;
  GPIO_InitStruct.Mode = GPIO_MODE_IT_RISING;
  GPIO_InitStruct.Pull = GPIO_NOPULL;
  HAL_GPIO_Init(VSS_GPIO_Port, &GPIO_InitStruct);

  /*Configure GPIO pin : FAULT_IND_Pin */
  GPIO_InitStruct.Pin = FAULT_IND_Pin;
  GPIO_InitStruct.Mode = GPIO_MODE_INPUT;
  GPIO_InitStruct.Pull = GPIO_NOPULL;
  HAL_GPIO_Init(FAULT_IND_GPIO_Port, &GPIO_InitStruct);

  /*Configure GPIO pin : PB2_Pin */
  GPIO_InitStruct.Pin = PB2_Pin;
  GPIO_InitStruct.Mode = GPIO_MODE_INPUT;
  GPIO_InitStruct.Pull = GPIO_NOPULL;
  HAL_GPIO_Init(PB2_GPIO_Port, &GPIO_InitStruct);

  /*Configure GPIO pins : OIL_P_LOW_Pin NEUTRAL_Pin LOWBEAM_Pin HIGHBEAM_Pin */
  GPIO_InitStruct.Pin = OIL_P_LOW_Pin|NEUTRAL_Pin|LOWBEAM_Pin|HIGHBEAM_Pin;
  GPIO_InitStruct.Mode = GPIO_MODE_INPUT;
  GPIO_InitStruct.Pull = GPIO_NOPULL;
  HAL_GPIO_Init(GPIOF, &GPIO_InitStruct);

  /*Configure GPIO pin : TACH_Pin */
  GPIO_InitStruct.Pin = TACH_Pin;
  GPIO_InitStruct.Mode = GPIO_MODE_IT_RISING;
  GPIO_InitStruct.Pull = GPIO_NOPULL;
  HAL_GPIO_Init(TACH_GPIO_Port, &GPIO_InitStruct);

  /*Configure GPIO pins : TURN_L_Pin TURN_R_Pin */
  GPIO_InitStruct.Pin = TURN_L_Pin|TURN_R_Pin;
  GPIO_InitStruct.Mode = GPIO_MODE_INPUT;
  GPIO_InitStruct.Pull = GPIO_NOPULL;
  HAL_GPIO_Init(GPIOG, &GPIO_InitStruct);

  /*Configure GPIO pins : SIXTH_Pin FIFTH_Pin FOURTH_Pin THIRD_Pin
                           SECOND_Pin FIRST_Pin */
  GPIO_InitStruct.Pin = SIXTH_Pin|FIFTH_Pin|FOURTH_Pin|THIRD_Pin
                          |SECOND_Pin|FIRST_Pin;
  GPIO_InitStruct.Mode = GPIO_MODE_INPUT;
  GPIO_InitStruct.Pull = GPIO_NOPULL;
  HAL_GPIO_Init(GPIOE, &GPIO_InitStruct);

  /*Configure GPIO pins : HL_RLY_EN_Pin LAP_RLY_EN_Pin */
  GPIO_InitStruct.Pin = HL_RLY_EN_Pin|LAP_RLY_EN_Pin;
  GPIO_InitStruct.Mode = GPIO_MODE_OUTPUT_PP;
  GPIO_InitStruct.Pull = GPIO_NOPULL;
  GPIO_InitStruct.Speed = GPIO_SPEED_FREQ_LOW;
  HAL_GPIO_Init(GPIOE, &GPIO_InitStruct);

  /*Configure GPIO pin : RS485_DIR_Pin */
  GPIO_InitStruct.Pin = RS485_DIR_Pin;
  GPIO_InitStruct.Mode = GPIO_MODE_OUTPUT_PP;
  GPIO_InitStruct.Pull = GPIO_NOPULL;
  GPIO_InitStruct.Speed = GPIO_SPEED_FREQ_LOW;
  HAL_GPIO_Init(RS485_DIR_GPIO_Port, &GPIO_InitStruct);

  /*Configure GPIO pin : VSSB5_Pin */
  GPIO_InitStruct.Pin = VSSB5_Pin;
  GPIO_InitStruct.Mode = GPIO_MODE_IT_RISING;
  GPIO_InitStruct.Pull = GPIO_NOPULL;
  HAL_GPIO_Init(VSSB5_GPIO_Port, &GPIO_InitStruct);

  /* EXTI interrupt init*/
  HAL_NVIC_SetPriority(EXTI15_10_IRQn, 5, 0);
  HAL_NVIC_EnableIRQ(EXTI15_10_IRQn);

}

void StartDefaultTask(void const * argument)
{
  for(;;)
  {
    osDelay(1);
  }
}

void StartTask1kHz(void const * argument)
{
  /* USER CODE BEGIN StartTask1kHz */
  (void)argument;
  RtosRunTask1kHz();
  /* USER CODE END StartTask1kHz */
}

void StartTask10Hz(void const * argument)
{
  /* USER CODE BEGIN StartTask10Hz */
  (void)argument;
  RtosRunTask10Hz();
  /* USER CODE END StartTask10Hz */
}

void StartTask1Hz(void const * argument)
{
  /* USER CODE BEGIN StartTask1Hz */
  (void)argument;
  RtosRunTask1Hz();
  /* USER CODE END StartTask1Hz */
}

void StartTask100Hz(void const * argument)
{
  /* USER CODE BEGIN StartTask100Hz */
  (void)argument;
  RtosRunTask100Hz();
  /* USER CODE END StartTask100Hz */
}

void HAL_TIM_PeriodElapsedCallback(TIM_HandleTypeDef *htim)
{
  if (htim->Instance == TIM2) {
    HAL_IncTick();
  }
}

void Error_Handler(void)
{
  __disable_irq();
  while (1)
  {
  }
}

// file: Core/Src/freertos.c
/* USER CODE BEGIN Header */
/**
  ******************************************************************************
  * File Name          : freertos.c
  * Description        : Code for freertos applications
  ******************************************************************************
  * @attention
  *
  * Copyright (c) 2025 STMicroelectronics.
  * All rights reserved.
  *
  * This software is licensed under terms that can be found in the LICENSE file
  * in the root directory of this software component.
  * If no LICENSE file comes with this software, it is provided AS-IS.
  *
  ******************************************************************************
  */
/* USER CODE END Header */

#include "FreeRTOS.h"
#include "task.h"
#include "main.h"

/* GetIdleTaskMemory prototype (linked to static allocation support) */
void vApplicationGetIdleTaskMemory( StaticTask_t **ppxIdleTaskTCBBuffer, StackType_t **ppxIdleTaskStackBuffer, uint32_t *pulIdleTaskStackSize );

/* Hook prototypes */
void configureTimerForRunTimeStats(void);
unsigned long getRunTimeCounterValue(void);

/* USER CODE BEGIN 1 */
/* Functions needed when configGENERATE_RUN_TIME_STATS is on */
__weak void configureTimerForRunTimeStats(void)
{

}

__weak unsigned long getRunTimeCounterValue(void)
{
return 0;
}
/* USER CODE END 1 */

/* USER CODE BEGIN GET_IDLE_TASK_MEMORY */
static StaticTask_t xIdleTaskTCBBuffer;
static StackType_t xIdleStack[configMINIMAL_STACK_SIZE];

void vApplicationGetIdleTaskMemory( StaticTask_t **ppxIdleTaskTCBBuffer, StackType_t **ppxIdleTaskStackBuffer, uint32_t *pulIdleTaskStackSize )
{
  *ppxIdleTaskTCBBuffer = &xIdleTaskTCBBuffer;
  *ppxIdleTaskStackBuffer = &xIdleStack[0];
  *pulIdleTaskStackSize = configMINIMAL_STACK_SIZE;
  /* place for user code */
}
/* USER CODE END GET_IDLE_TASK_MEMORY */
